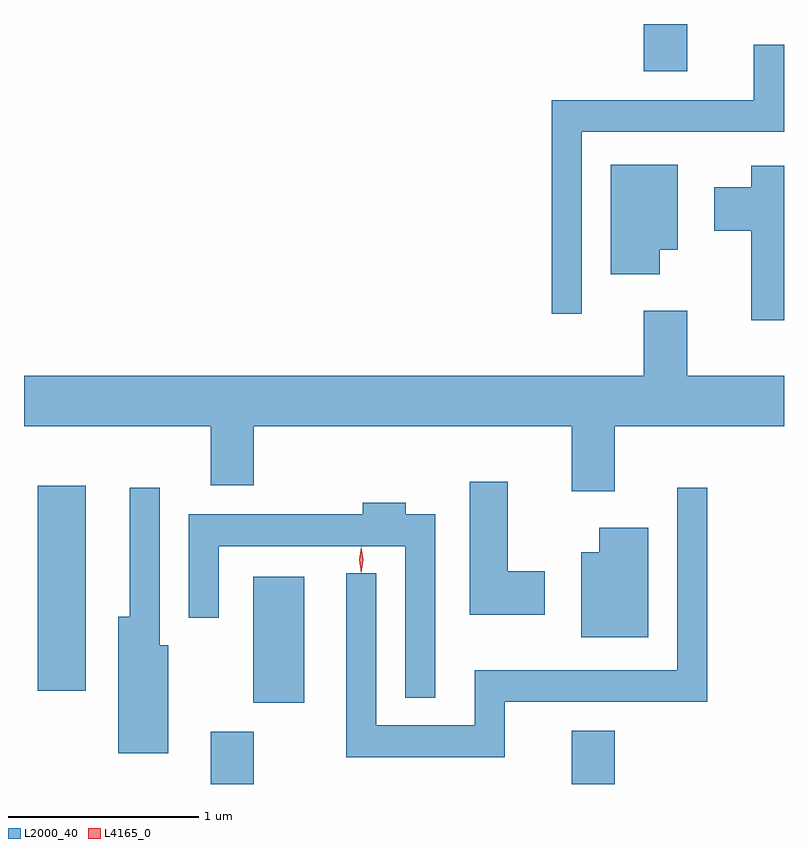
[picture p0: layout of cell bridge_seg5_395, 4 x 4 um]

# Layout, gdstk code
import gdstk
lib = gdstk.Library(unit=1e-6, precision=1e-09)
def R(c, l, rs):  # rectangles x0, y0, x1, y1
    for r in rs: c.add(gdstk.rectangle(r[:2], r[2:], *l))
def P(c, l, *ps):  # polygons
    for p in ps: c.add(gdstk.Polygon(p, *l))
L2000_40 = (2000, 40)
L4165_0 = (4165, 0)

bridge_seg5_395 = lib.new_cell('bridge_seg5_395')
R(bridge_seg5_395, L2000_40, [(541.751,1514.854,541.979,1515.129), (543.651,1514.854,543.879,1515.134), (541.976,1515.281,542.244,1515.944), (540.841,1515.346,541.094,1516.424), (544.031,1518.606,544.259,1518.854)])
P(bridge_seg5_395, L2000_40, [(543.704,1518.286),(544.769,1518.286),(544.769,1518.744),(544.611,1518.744),(544.611,1518.454),(543.546,1518.454),(543.546,1517.328),(543.704,1517.328)],
  [(544.114,1517.666),(544.209,1517.666),(544.209,1518.114),(543.856,1518.114),(543.856,1517.536),(544.114,1517.536)],
  [(544.769,1518.109),(544.596,1518.109),(544.596,1517.994),(544.401,1517.994),(544.401,1517.766),(544.596,1517.766),(544.596,1517.296),(544.769,1517.296)],
  [(543.879,1516.736),(544.769,1516.736),(544.769,1517.004),(544.259,1517.004),(544.259,1517.344),(544.031,1517.344),(544.031,1517.004),(540.769,1517.004),(540.769,1516.736),(541.751,1516.736),(541.751,1516.426),(541.979,1516.426),(541.979,1516.736),(543.651,1516.736),(543.651,1516.396),(543.879,1516.396)],
  [(543.509,1515.974),(543.314,1515.974),(543.314,1516.444),(543.116,1516.444),(543.116,1515.746),(543.509,1515.746)],
  [(541.529,1515.584),(541.484,1515.584),(541.484,1516.413),(541.326,1516.413),(541.326,1515.734),(541.266,1515.734),(541.266,1515.016),(541.529,1515.016)],
  [(543.299,1515.286),(544.364,1515.286),(544.364,1516.413),(544.206,1516.413),(544.206,1515.454),(543.141,1515.454),(543.141,1515.164),(542.624,1515.164),(542.624,1515.963),(542.466,1515.963),(542.466,1514.996),(543.299,1514.996)],
  [(542.934,1516.274),(542.779,1516.274),(542.779,1516.334),(542.551,1516.334),(542.551,1516.274),(541.636,1516.274),(541.636,1515.728),(541.794,1515.728),(541.794,1516.106),(542.776,1516.106),(542.776,1515.308),(542.934,1515.308)],
  [(544.054,1516.204),(543.796,1516.204),(543.796,1516.074),(543.701,1516.074),(543.701,1515.626),(544.054,1515.626)])
P(bridge_seg5_395, L4165_0, [(542.544,1515.967),(542.535,1516.034),(542.544,1516.1),(542.544,1516.1),(542.545,1516.1),(542.554,1516.034),(542.545,1515.967),(542.545,1515.967)],
  [(542.544,1515.964),(542.544,1515.964),(542.534,1516.033),(542.544,1516.102),(542.544,1516.103),(542.545,1516.102),(542.554,1516.033),(542.545,1515.964)])

lib.write_gds('bridge_seg5_395.gds')
